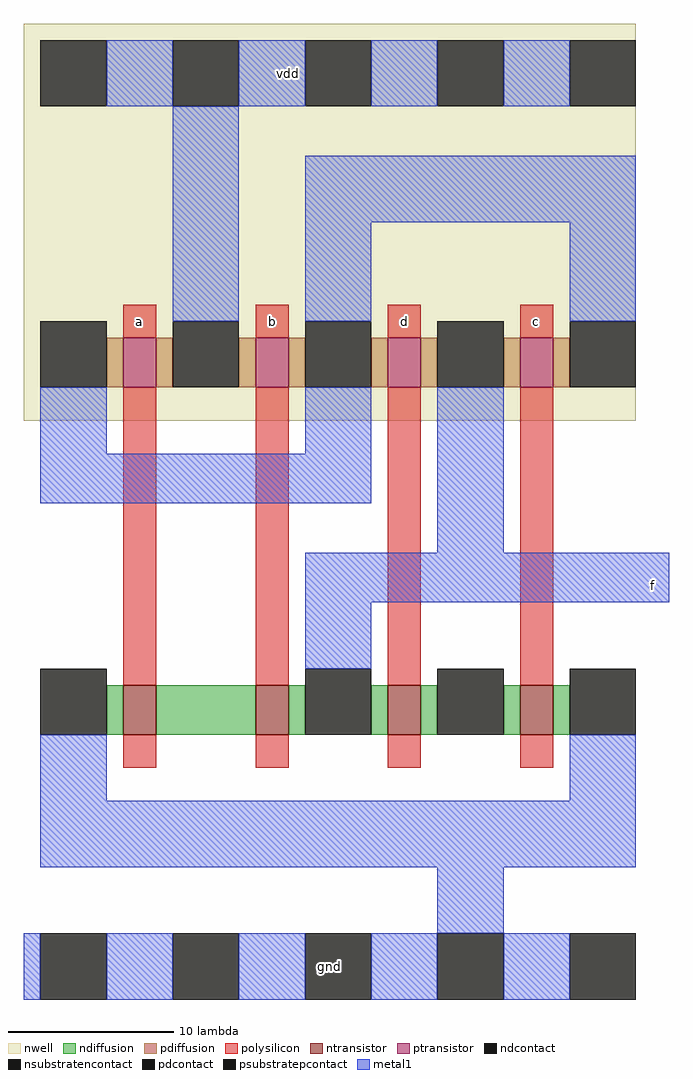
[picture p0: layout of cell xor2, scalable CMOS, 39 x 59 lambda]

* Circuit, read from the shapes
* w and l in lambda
.subckt xor2 a b c d f gnd vdd
M1 n1 a gnd gnd nfet w=3 l=2
M2 f b n1 gnd nfet w=3 l=2
M3 n2 d f gnd nfet w=3 l=2
M4 gnd c n2 gnd nfet w=3 l=2
M5 vdd a n3 vdd pfet w=3 l=2
M6 n3 b vdd vdd pfet w=3 l=2
M7 f d n3 vdd pfet w=3 l=2
M8 n3 c f vdd pfet w=3 l=2
.ends

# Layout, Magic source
magic
tech scmos
<< nwell >>
rect -74 3 -37 27
<< polysilicon >>
rect -68 8 -66 10
rect -60 8 -58 10
rect -52 8 -50 10
rect -44 8 -42 10
rect -68 -13 -66 5
rect -60 -13 -58 5
rect -52 -13 -50 5
rect -44 -13 -42 5
rect -68 -18 -66 -16
rect -60 -18 -58 -16
rect -52 -18 -50 -16
rect -44 -18 -42 -16
<< ndiffusion >>
rect -69 -16 -68 -13
rect -66 -16 -60 -13
rect -58 -16 -57 -13
rect -53 -16 -52 -13
rect -50 -16 -49 -13
rect -45 -16 -44 -13
rect -42 -16 -41 -13
<< pdiffusion >>
rect -69 5 -68 8
rect -66 5 -65 8
rect -61 5 -60 8
rect -58 5 -57 8
rect -53 5 -52 8
rect -50 5 -49 8
rect -45 5 -44 8
rect -42 5 -41 8
<< metal1 >>
rect -69 22 -65 26
rect -61 22 -57 26
rect -53 22 -49 26
rect -45 22 -41 26
rect -65 9 -61 22
rect -57 15 -37 19
rect -57 9 -53 15
rect -41 9 -37 15
rect -73 1 -69 5
rect -57 1 -53 5
rect -73 -2 -53 1
rect -49 -5 -45 5
rect -57 -8 -35 -5
rect -57 -12 -53 -8
rect -73 -20 -69 -16
rect -41 -20 -37 -16
rect -73 -24 -37 -20
rect -49 -28 -45 -24
rect -74 -32 -73 -28
rect -69 -32 -65 -28
rect -61 -32 -57 -28
rect -53 -32 -49 -28
rect -45 -32 -41 -28
<< ntransistor >>
rect -68 -16 -66 -13
rect -60 -16 -58 -13
rect -52 -16 -50 -13
rect -44 -16 -42 -13
<< ptransistor >>
rect -68 5 -66 8
rect -60 5 -58 8
rect -52 5 -50 8
rect -44 5 -42 8
<< ndcontact >>
rect -73 -16 -69 -12
rect -57 -16 -53 -12
rect -49 -16 -45 -12
rect -41 -16 -37 -12
<< pdcontact >>
rect -73 5 -69 9
rect -65 5 -61 9
rect -57 5 -53 9
rect -49 5 -45 9
rect -41 5 -37 9
<< psubstratepcontact >>
rect -73 -32 -69 -28
rect -65 -32 -61 -28
rect -57 -32 -53 -28
rect -49 -32 -45 -28
rect -41 -32 -37 -28
<< nsubstratencontact >>
rect -73 22 -69 26
rect -65 22 -61 26
rect -57 22 -53 26
rect -49 22 -45 26
rect -41 22 -37 26
<< labels >>
rlabel metal1 -59 24 -57 24 5 vdd
rlabel polysilicon -68 8 -66 10 1 a
rlabel polysilicon -60 8 -58 10 1 b
rlabel polysilicon -52 8 -50 10 1 d
rlabel polysilicon -44 8 -42 10 1 c
rlabel metal1 -74 -32 -37 -28 5 gnd
rlabel metal1 -36 -7 -36 -7 7 f
<< end >>
